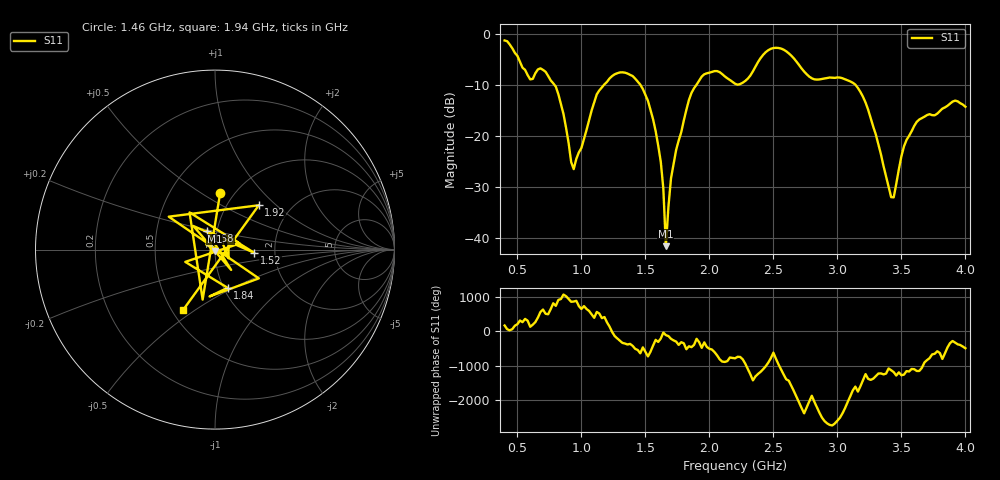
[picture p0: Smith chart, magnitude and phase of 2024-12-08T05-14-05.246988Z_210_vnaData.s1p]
!Created with skrf (http://scikit-rf.org).
# Hz S RI R 50.0
!freq ReS11 ImS11
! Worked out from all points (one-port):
!   181 points, 400 MHz to 4 GHz, reference 50 ohm
!   lowest |S11| = -41.6 dB at 1.66 GHz (marker M1), VSWR 1.02, Z = 49.7 - j0.777 ohm
!   |S11| at or under -10 dB: 788.4 MHz to 1.178 GHz (389.2 MHz wide, 39.6 % of centre); 1.46 GHz to 1.9 GHz (439.4 MHz wide, 26.2 % of centre); 3.141 GHz to end of sweep (the widest 3 of 4)
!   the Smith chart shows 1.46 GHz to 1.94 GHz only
!   S11 on the Smith chart (normalised r, x): 1.46 GHz: 0.86, +0.61; 1.52 GHz: 1.56, -0.06; 1.58 GHz: 0.90, +0.19; 1.84 GHz: 1.04, -0.47; 1.92 GHz: 1.39, +0.78; 1.94 GHz: 0.57, -0.45
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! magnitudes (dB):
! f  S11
! 400 MHz  -1.3
! 600 MHz  -9.0
! 720 MHz  -7.5
! 800 MHz  -10.4
! 860 MHz  -15.7
! 940 MHz  -26.5
! 1.12 GHz  -11.9
! 1.3 GHz  -7.6
! 1.46 GHz  -10.0
! 1.52 GHz  -13.2
! 1.58 GHz  -19.1
! 1.64 GHz  -30.3
! 1.66 GHz  -41.6
! 1.7 GHz  -28.4
! 1.76 GHz  -20.9
! 1.84 GHz  -13.0
! 1.92 GHz  -9.2
! 1.94 GHz  -8.4
! 2.2 GHz  -9.8
! 2.48 GHz  -3.0
! 2.66 GHz  -4.8
! 2.82 GHz  -9.0
! 3.1 GHz  -9.3
! 3.24 GHz  -14.9
! 3.42 GHz  -32.0
! 3.56 GHz  -20.0
! 3.9 GHz  -13.3
! 4 GHz  -14.3
